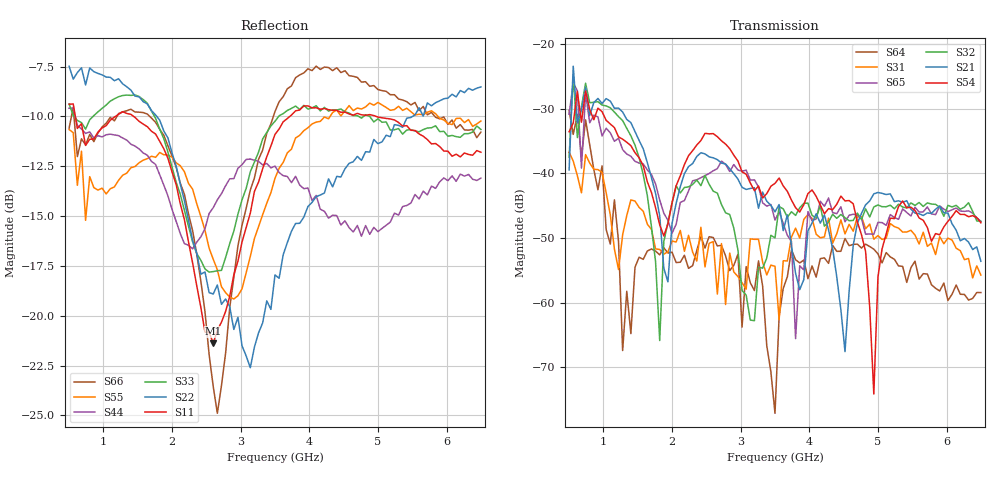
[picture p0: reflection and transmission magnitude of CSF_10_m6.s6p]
!Keysight Technologies,M9804A,MY58100912,A.14.10.03
!Date: Thursday, April 27, 2023 10:28:33
!Correction: S11(C  6-Port  )
!S12(C  6-Port  )
!S13(C  6-Port  )
!S14(C  6-Port  )
!S15(C  6-Port  )
!S16(C  6-Port  )
!S21(C  6-Port  )
!S22(C  6-Port  )
!S23(C  6-Port  )
!S24(C  6-Port  )
!S25(C  6-Port  )
!S26(C  6-Port  )
!S31(C  6-Port  )
!S32(C  6-Port  )
!S33(C  6-Port  )
!S34(C  6-Port  )
!S35(C  6-Port  )
!S36(C  6-Port  )
!S41(C  6-Port  )
!S42(C  6-Port  )
!S43(C  6-Port  )
!S44(C  6-Port  )
!S45(C  6-Port  )
!S46(C  6-Port  )
!S51(C  6-Port  )
!S52(C  6-Port  )
!S53(C  6-Port  )
!S54(C  6-Port  )
!S55(C  6-Port  )
!S56(C  6-Port  )
!S61(C  6-Port  )
!S62(C  6-Port  )
!S63(C  6-Port  )
!S64(C  6-Port  )
!S65(C  6-Port  )
!S66(C  6-Port  )
!S6P File: Measurement: :
# Hz S  RI  R 50
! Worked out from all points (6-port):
!   101 points, 500 MHz to 6.5 GHz, reference 50 ohm
!   strongest paths, dB at 500 MHz, 2 GHz, 3.5 GHz, 5 GHz, 6.5 GHz:
!     S54: -33.6, -44.5, -41.5, -56.0, -47.6
!     S21: -39.5, -47.7, -46.0, -43.0, -53.6
!     S32: -37.5, -44.6, -50.0, -44.9, -47.4
!     S65: -30.9, -49.3, -47.2, -47.6, -47.4
!     S31: -36.7, -50.5, -54.4, -49.6, -55.7
!     S64: -30.3, -52.2, -77.1, -52.4, -58.4
!   lowest |S11| = -21.4 dB at 2.6 GHz (marker M1), VSWR 1.19, Z = 42.4 + j2.14 ohm
!   |S11| at or under -10 dB: 590.6 MHz to 1.174 GHz (583.5 MHz wide, 66.1 % of centre); 1.441 GHz to 3.715 GHz (2.275 GHz wide, 88.2 % of centre); 4.974 GHz to end of sweep
